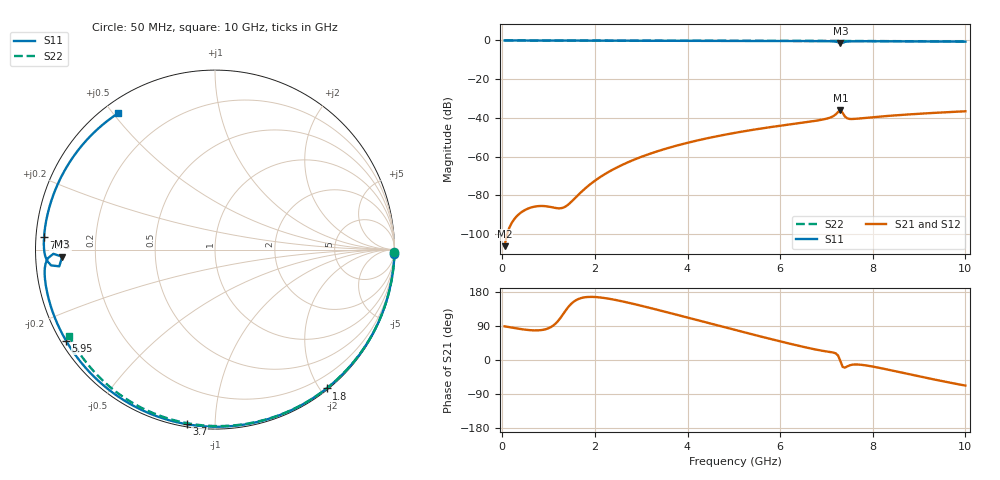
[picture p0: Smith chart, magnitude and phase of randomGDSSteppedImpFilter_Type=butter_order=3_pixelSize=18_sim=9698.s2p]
! freq	dB(S11)	phase(S11)	dB(S12)	phase(S12)
!  dB(S21)	phase(S21)	dB(S22)	phase(S22)
!S-par simulation data
#  GHz  S  DB  R 50
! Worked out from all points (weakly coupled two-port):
!   200 points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, 50 MHz to 10 GHz, reference 50 ohm
!   highest |S21| = -36.10 dB at 7.3 GHz (marker M1); lowest = -106.3 dB at 50 MHz (marker M2)
!   lowest |S11| = -1.4 dB at 7.3 GHz (marker M3), VSWR 12.50, Z = 4 - j1.17 ohm
!   |S11| at or under -10 dB: nowhere
!   |S22| runs from -0.5 to 0.0 dB; largest |S21 - S12| = 0
!   S11 on the Smith chart (normalised r, x): 50 MHz: 0, -78; 1.8 GHz: 0.02, -2.09; 3.7 GHz: 0.01, -0.85; 5.95 GHz: 0.01, -0.28; 7.75 GHz: 0.02, +0.04; 10 GHz: 0.04, +0.52
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0.05  -0.00 -1.5  -106.34 88.9  -106.34 88.9  -0.00 -0.9
0.8  -0.03 -23.2  -85.59 78.4  -85.59 78.4  -0.02 -13.8
1.6  -0.06 -45.8  -80.79 158.4  -80.79 158.4  -0.03 -27.4
1.75  -0.06 -49.9  -77.34 164.9  -77.34 164.9  -0.04 -29.9
1.8  -0.06 -51.2  -76.28 165.8  -76.28 165.8  -0.04 -30.7
2.1  -0.07 -59.3  -70.84 165.2  -70.84 165.2  -0.05 -35.7
2.45  -0.09 -68.5  -65.96 158.3  -65.96 158.3  -0.05 -41.5
3.4  -0.12 -92.1  -56.90 130.9  -56.90 130.9  -0.08 -56.7
3.7  -0.13 -99.2  -54.79 121.5  -54.79 121.5  -0.08 -61.4
4.35  -0.15 -114.1  -50.95 100.8  -50.95 100.8  -0.10 -71.4
5.05  -0.19 -129.5  -47.65 78.5  -47.65 78.5  -0.13 -81.9
5.95  -0.24 -148.5  -44.25 50.7  -44.25 50.7  -0.16 -94.8
6.7  -0.30 -164.4  -41.77 29.4  -41.77 29.4  -0.21 -105.3
7.1  -0.41 -173.8  -39.68 20.7  -39.68 20.7  -0.23 -110.8
7.25  -0.91 -178.5  -37.00 11.9  -37.00 11.9  -0.24 -112.8
7.3  -1.39 -177.3  -36.10 -2.5  -36.10 -2.5  -0.24 -113.5
7.35  -1.18 -173.9  -37.45 -18.1  -37.45 -18.1  -0.24 -114.2
7.45  -0.56 -176.1  -40.27 -16.9  -40.27 -16.9  -0.25 -115.5
7.75  -0.40 175.9  -40.24 -12.6  -40.24 -12.6  -0.28 -119.6
8.35  -0.43 162.7  -38.97 -26.0  -38.97 -26.0  -0.33 -127.6
9.15  -0.51 145.1  -37.68 -46.9  -37.68 -46.9  -0.41 -138.2
10  -0.61 125.2  -36.62 -67.5  -36.62 -67.5  -0.50 -149.5
